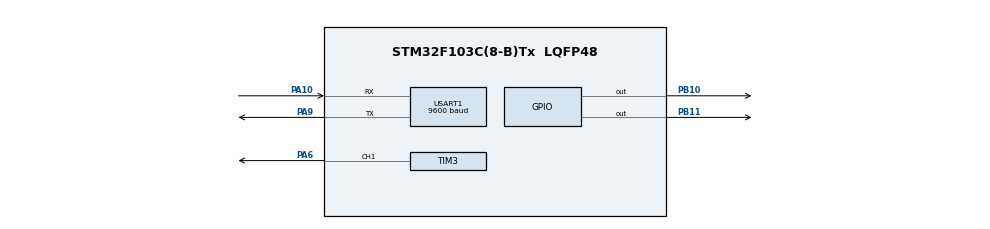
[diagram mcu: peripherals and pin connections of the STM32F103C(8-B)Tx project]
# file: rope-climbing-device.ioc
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FREERTOS.Tasks01=defaultTask,24,128,StartDefaultTask,Default,NULL,Dynamic,NULL,NULL
FREERTOS.configTOTAL_HEAP_SIZE=6144
Mcu.Family=STM32F1
Mcu.Name=STM32F103C(8-B)Tx
Mcu.Package=LQFP48
NVIC.PriorityGroup=NVIC_PRIORITYGROUP_4
NVIC.TIM3_IRQn=true\:5\:0\:false\:false\:true\:true\:true\:true\:true
NVIC.TIM4_IRQn=true\:15\:0\:false\:false\:true\:false\:false\:true\:true
NVIC.TimeBase=TIM4_IRQn
NVIC.TimeBaseIP=TIM4
NVIC.USART1_IRQn=true\:5\:0\:false\:true\:true\:1\:true\:true\:true\:true
PA10.Mode=Asynchronous
PA10.Signal=USART1_RX
PA13.Mode=Trace_Asynchronous_SW
PA13.Signal=SYS_JTMS-SWDIO
PA14.Mode=Trace_Asynchronous_SW
PA14.Signal=SYS_JTCK-SWCLK
PA6.Signal=S_TIM3_CH1
PA9.Mode=Asynchronous
PA9.Signal=USART1_TX
PB10.PinState=GPIO_PIN_SET
PB10.Signal=GPIO_Output
PB11.PinState=GPIO_PIN_SET
PB11.Signal=GPIO_Output
PB3.Mode=Trace_Asynchronous_SW
PB3.Signal=SYS_JTDO-TRACESWO
ProjectManager.HeapSize=0x200
ProjectManager.StackSize=0x400
ProjectManager.TargetToolchain=CMake
RCC.APB1Freq_Value=8000000
RCC.APB2Freq_Value=8000000
SH.S_TIM3_CH1.0=TIM3_CH1,PWM Generation1 CH1
TIM3.AutoReloadPreload=TIM_AUTORELOAD_PRELOAD_ENABLE
TIM3.Channel-PWM\ Generation1\ CH1=TIM_CHANNEL_1
TIM3.OCMode_PWM-PWM\ Generation1\ CH1=TIM_OCMODE_PWM2
TIM3.Period=99
TIM3.Prescaler=799
TIM3.Pulse-PWM\ Generation1\ CH1=50
USART1.BaudRate=9600
USART1.Parity=PARITY_EVEN
USART1.VirtualMode=VM_ASYNC
USART1.WordLength=WORDLENGTH_9B
VP_FREERTOS_VS_CMSIS_V2.Mode=CMSIS_V2
VP_SYS_VS_tim4.Mode=TIM4
VP_TIM3_VS_ClockSourceINT.Mode=Internal
board=custom

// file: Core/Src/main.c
/* USER CODE BEGIN Header */
/**
  ******************************************************************************
  * @file           : main.c
  * @brief          : Main program body
  ******************************************************************************
  * @attention
  *
  * Copyright (c) 2026 STMicroelectronics.
  * All rights reserved.
  *
  * This software is licensed under terms that can be found in the LICENSE file
  * in the root directory of this software component.
  * If no LICENSE file comes with this software, it is provided AS-IS.
  *
  ******************************************************************************
  */
/* USER CODE END Header */
#include "main.h"
#include "cmsis_os.h"

/* USER CODE BEGIN Includes */
#include <stdint.h>
#include <stdio.h>
#include <stdbool.h>
#include <stddef.h>
#include "stm32f103xb.h"
#include "stm32f1xx.h"
#include "stm32f1xx_hal_def.h"
#include "stm32f1xx_hal_tim.h"
#include "stm32f1xx_hal_gpio.h"
#include "projdefs.h"
#include "semphr.h"

#include "Modbus.h"
/* USER CODE END Includes */

/* USER CODE BEGIN PD */
#define CW_PIN           GPIO_PIN_10   // Both are from bank B
#define EN_PIN           GPIO_PIN_11
#define MOTOR_EN         (1u << 0u)    // Coil 0
#define MOTOR_CW         (1u << 1u)    // Coil 1
#define MOTION_TRACK_EN  (1u << 2u)    // Coil 2
#define MOTION_ZERO      (1u << 3u)    // Coil 3
#define WHEEL_RADIUS_MM 30.0
// shortcut: full stepping assumed; update pulses per revolution if driver microstepping is enabled.
#define MOTOR_PULSES_PER_REV 200.0
#define MOTOR_REVS_PER_WHEEL_REV 3.7
#define MOTION_MM_PER_PULSE (2.0 * 3.141592653589793 * WHEEL_RADIUS_MM / \
                             (MOTOR_PULSES_PER_REV * MOTOR_REVS_PER_WHEEL_REV))
/* USER CODE END PD */

TIM_HandleTypeDef htim3;

UART_HandleTypeDef huart1;

/* Definitions for defaultTask */
osThreadId_t defaultTaskHandle;
const osThreadAttr_t defaultTask_attributes = {
  .name = "defaultTask",
  .stack_size = 128 * 4,
  .priority = (osPriority_t) osPriorityNormal,
};
/* USER CODE BEGIN PV */
osThreadId_t motorControlTaskHandle;

const osThreadAttr_t motorControlTask_attributes = {
  .name = "motorControlTask",
  .stack_size = 128 * 4,
  .priority = (osPriority_t) osPriorityNormal,
};

osThreadId_t motionTrackingTaskHandle;
const osThreadAttr_t motionTrackingTask_attributes = {
  .name = "motionTrackingTask",
  .stack_size = 128 * 4,
  .priority = (osPriority_t) osPriorityNormal,
};

static volatile bool motionTrackingEnabled;
static volatile bool motionMotorRunning;
static volatile int32_t motionDirection = 1;
static volatile uint64_t motionPosition; // Unsigned storage preserves two's-complement wrap.
static volatile int32_t motionIntervalPulses;

modbusHandler_t modbusHandle;
uint16_t modbusCoilsData[1];            // 16 coils, Modbus addresses 0-15
uint16_t modbusDiscreteInputsData[1];   // 16 discrete inputs, Modbus addresses 100-115
uint16_t modbusInputRegistersData[6];   // Speed um/s 200-201, position mm 202-205
uint16_t modbusHoldingRegistersData[2] = {100, 0}; // PWM Hz at 300; 301 reserved

/* USER CODE END PV */

void SystemClock_Config(void);
static void MX_GPIO_Init(void);
static void MX_TIM3_Init(void);
static void MX_USART1_UART_Init(void);
void StartDefaultTask(void *argument);

static void MX_NVIC_Init(void);
/* USER CODE BEGIN PFP */
void MotorControlTask(void *argument);
void MotionTrackingTask(void *argument);
/* USER CODE END PFP */

/* USER CODE BEGIN 0 */
int _write(int file, char *ptr, int len)
{
    for (int i = 0; i < len; i++)
    {
        ITM_SendChar(*ptr++);
    }
    return len;
}

void ModbusComm_Init(void)
{
  modbusHandle.uModbusType = MB_SLAVE;
  modbusHandle.port = &huart1;
  modbusHandle.u8id = 17;
  modbusHandle.u16timeOut = 1000;
  modbusHandle.EN_Port = NULL;
  modbusHandle.u16regs = NULL;
  modbusHandle.u16regsize = 0;
  modbusHandle.xTypeHW = USART_HW;

  // Coils — FC1, FC5, FC15
  // 0th coil is EN for motor
  // 1st coil is CW for motor
  // 2nd coil enables pulse speed/position tracking
  // 3rd coil requests zeroing; cleared after completion
  modbusHandle.u16coils            = modbusCoilsData;
  modbusHandle.u16coilsStartAdd    = 0;
  modbusHandle.u16coilsNregs       = 1;

  // Discrete Inputs — FC2
  modbusHandle.u16discreteInputs          = modbusDiscreteInputsData;
  modbusHandle.u16discreteInputsStartAdd  = 100;
  modbusHandle.u16discreteInputsNregs     = 1;

  // Input Registers — FC4
  modbusHandle.u16inputRegs          = modbusInputRegistersData;
  modbusHandle.u16inputRegsStartAdd  = 200;
  modbusHandle.u16inputRegsNregs     = 6;

  // Holding Registers — FC3, FC6, FC16
  modbusHandle.u16holdingRegs          = modbusHoldingRegistersData;
  modbusHandle.u16holdingRegsStartAdd  = 300;
  modbusHandle.u16holdingRegsNregs     = 2;

  ModbusInit(&modbusHandle);
  ModbusStart(&modbusHandle);
}

static void RecordMotionPulse(void)
{
  if (motionMotorRunning && motionTrackingEnabled)
  {
    motionPosition += motionDirection;
    motionIntervalPulses += motionDirection;
  }
}

void HAL_TIM_PWM_PulseFinishedCallback(TIM_HandleTypeDef *htim)
{
  if (htim->Instance == TIM3 && htim->Channel == HAL_TIM_ACTIVE_CHANNEL_1)
  {
    RecordMotionPulse();
  }
}

// Called with TIM3 masked: account for an edge awaiting interrupt service.
static void FlushMotionPulse(void)
{
  if (__HAL_TIM_GET_FLAG(&htim3, TIM_FLAG_CC1) != RESET)
  {
    __HAL_TIM_CLEAR_FLAG(&htim3, TIM_FLAG_CC1);
    RecordMotionPulse();
  }
}

static void SetMotionTracking(uint16_t coils)
{
  taskENTER_CRITICAL();
  FlushMotionPulse();
  motionTrackingEnabled = (coils & MOTION_TRACK_EN) != 0;
  taskEXIT_CRITICAL();
}

void MotorControlTask(void *argument)
{
  const uint16_t commandMask = MOTOR_EN | MOTOR_CW;
  bool running = false;
  uint16_t frequency = 100;
  // APB1 divider is 1: TIM3 clock equals PCLK1; PWM period stays 100 counts.
  const uint32_t timerClock = HAL_RCC_GetPCLK1Freq();
  GPIO_PinState direction = GPIO_PIN_RESET;

  while (true)
  {
    if (xSemaphoreTake(modbusHandle.ModBusSphrHandle, 0) == pdTRUE)
    {
      uint16_t coils = modbusCoilsData[0];
      uint16_t command = coils & commandMask;
      uint16_t requestedFrequency = modbusHoldingRegistersData[0];
      if (requestedFrequency < 100) requestedFrequency = 100;
      if (requestedFrequency > 700) requestedFrequency = 700;
      xSemaphoreGive(modbusHandle.ModBusSphrHandle);

      SetMotionTracking(coils);
      bool enabled = READ_BIT(command, MOTOR_EN);
      GPIO_PinState requestedDirection = READ_BIT(command, MOTOR_CW) ? GPIO_PIN_RESET : GPIO_PIN_SET;

      if (running && (!enabled || requestedDirection != direction || requestedFrequency != frequency))
      {
        taskENTER_CRITICAL();
        HAL_GPIO_WritePin(GPIOB, EN_PIN, GPIO_PIN_SET);
        if (HAL_TIM_PWM_Stop_IT(&htim3, TIM_CHANNEL_1) != HAL_OK)
        {
          Error_Handler(__FILE__, __LINE__);
        }
        FlushMotionPulse();
        motionMotorRunning = false;
        taskEXIT_CRITICAL();
        running = false;
      }

      if (enabled && !running)
      {
        HAL_GPIO_WritePin(GPIOB, CW_PIN, requestedDirection);
        osDelay(10);
        // Re-read after the pause without blocking Modbus writes during it.
        if (xSemaphoreTake(modbusHandle.ModBusSphrHandle, 0) == pdTRUE)
        {
          uint16_t latestCoils = modbusCoilsData[0];
          uint16_t latestCommand = latestCoils & commandMask;
          uint16_t latestFrequency = modbusHoldingRegistersData[0];
          if (latestFrequency < 100) latestFrequency = 100;
          if (latestFrequency > 700) latestFrequency = 700;
          xSemaphoreGive(modbusHandle.ModBusSphrHandle);
          SetMotionTracking(latestCoils);
          if (latestCommand == command && latestFrequency == requestedFrequency)
          {
            taskENTER_CRITICAL();
            __HAL_TIM_SET_PRESCALER(&htim3,
                (timerClock / 100 + requestedFrequency / 2) / requestedFrequency - 1);
            if (HAL_TIM_GenerateEvent(&htim3, TIM_EVENTSOURCE_UPDATE) != HAL_OK)
            {
              Error_Handler(__FILE__, __LINE__);
            }
            __HAL_TIM_SET_COUNTER(&htim3, 0);
            __HAL_TIM_CLEAR_FLAG(&htim3, TIM_FLAG_CC1);
            HAL_NVIC_ClearPendingIRQ(TIM3_IRQn);
            motionDirection = requestedDirection == GPIO_PIN_SET ? 1 : -1;
            if (HAL_TIM_PWM_Start_IT(&htim3, TIM_CHANNEL_1) != HAL_OK)
            {
              Error_Handler(__FILE__, __LINE__);
            }
            HAL_GPIO_WritePin(GPIOB, EN_PIN, GPIO_PIN_RESET);
            motionMotorRunning = true;
            taskEXIT_CRITICAL();
            direction = requestedDirection;
            frequency = requestedFrequency;
            running = true;
          }
        }
      }
    }
    osDelay(10);
  }
}

void MotionTrackingTask(void *argument)
{
  uint32_t previousTime = HAL_GetTick();
  const uint32_t period = osKernelGetTickFreq() / 10;
  while (true)
  {
    osDelay(period);
    taskENTER_CRITICAL();
    FlushMotionPulse();
    uint32_t now = HAL_GetTick();
    uint32_t elapsed = now - previousTime;
    uint64_t position = motionPosition;
    int32_t pulses = motionIntervalPulses;
    bool active = motionTrackingEnabled && motionMotorRunning;
    if (elapsed != 0)
    {
      motionIntervalPulses = 0;
    }
    taskEXIT_CRITICAL();
    if (elapsed == 0)
    {
      continue;
    }
    previousTime = now;
    // shortcut: current calibration and 100 Hz PWM fit int32 speed; revisit if either changes.
    int32_t speed = active ? (int32_t)(pulses * MOTION_MM_PER_PULSE * 1000.0 / elapsed) : 0;
    double distanceMm = (int64_t)position * MOTION_MM_PER_PULSE;
    // Saturate physical distance rather than overflowing the signed Modbus value.
    int64_t distance = distanceMm >= (double)INT64_MAX ? INT64_MAX :
                       distanceMm <= (double)INT64_MIN ? INT64_MIN : (int64_t)distanceMm;
    if (xSemaphoreTake(modbusHandle.ModBusSphrHandle, 0) == pdTRUE)
    {
      if (modbusCoilsData[0] & MOTION_ZERO)
      {
        taskENTER_CRITICAL();
        // Discard all pulses through the reset boundary, including a pending edge.
        FlushMotionPulse();
        motionPosition = 0;
        motionIntervalPulses = 0;
        previousTime = HAL_GetTick();
        taskEXIT_CRITICAL();
        distance = 0;
        speed = 0;
      }
      modbusInputRegistersData[0] = (uint32_t)speed >> 16;
      modbusInputRegistersData[1] = (uint32_t)speed;
      for (unsigned int i = 0; i < 4; ++i)
      {
        modbusInputRegistersData[2 + i] = (uint64_t)distance >> (48 - 16 * i);
      }
      modbusCoilsData[0] &= ~MOTION_ZERO;
      xSemaphoreGive(modbusHandle.ModBusSphrHandle);
    }
  }
}
/* USER CODE END 0 */

int main(void)
{

  /* MCU Configuration--------------------------------------------------------*/

  /* Reset of all peripherals, Initializes the Flash interface and the Systick. */
  HAL_Init();

  /* Configure the system clock */
  SystemClock_Config();

  /* Initialize all configured peripherals */
  MX_GPIO_Init();
  MX_TIM3_Init();
  MX_USART1_UART_Init();

  /* Initialize interrupts */
  MX_NVIC_Init();

  /* Init scheduler */
  osKernelInitialize();

  /* Create the thread(s) */
  /* creation of defaultTask */
  defaultTaskHandle = osThreadNew(StartDefaultTask, NULL, &defaultTask_attributes);

  /* USER CODE BEGIN RTOS_THREADS */
  ModbusComm_Init();
  /* add threads, ... */
  motorControlTaskHandle = osThreadNew(MotorControlTask, NULL, &motorControlTask_attributes);
  if (!motorControlTaskHandle)
  {
    Error_Handler(__FILE__, __LINE__);
  }
  motionTrackingTaskHandle = osThreadNew(MotionTrackingTask, NULL, &motionTrackingTask_attributes);
  if (!motionTrackingTaskHandle)
  {
    Error_Handler(__FILE__, __LINE__);
  }
  /* USER CODE END RTOS_THREADS */

  /* Start scheduler */
  osKernelStart();

  /* We should never get here as control is now taken by the scheduler */

  /* Infinite loop */
  while (1)
  {

  }
}

void SystemClock_Config(void)
{
  RCC_OscInitTypeDef RCC_OscInitStruct = {0};
  RCC_ClkInitTypeDef RCC_ClkInitStruct = {0};

  /** Initializes the RCC Oscillators according to the specified parameters
  * in the RCC_OscInitTypeDef structure.
  */
  RCC_OscInitStruct.OscillatorType = RCC_OSCILLATORTYPE_HSI;
  RCC_OscInitStruct.HSIState = RCC_HSI_ON;
  RCC_OscInitStruct.HSICalibrationValue = RCC_HSICALIBRATION_DEFAULT;
  RCC_OscInitStruct.PLL.PLLState = RCC_PLL_NONE;
  if (HAL_RCC_OscConfig(&RCC_OscInitStruct) != HAL_OK)
  {
    Error_Handler(__FILE__, __LINE__);
  }

  /** Initializes the CPU, AHB and APB buses clocks
  */
  RCC_ClkInitStruct.ClockType = RCC_CLOCKTYPE_HCLK|RCC_CLOCKTYPE_SYSCLK
                              |RCC_CLOCKTYPE_PCLK1|RCC_CLOCKTYPE_PCLK2;
  RCC_ClkInitStruct.SYSCLKSource = RCC_SYSCLKSOURCE_HSI;
  RCC_ClkInitStruct.AHBCLKDivider = RCC_SYSCLK_DIV1;
  RCC_ClkInitStruct.APB1CLKDivider = RCC_HCLK_DIV1;
  RCC_ClkInitStruct.APB2CLKDivider = RCC_HCLK_DIV1;

  if (HAL_RCC_ClockConfig(&RCC_ClkInitStruct, FLASH_LATENCY_0) != HAL_OK)
  {
    Error_Handler(__FILE__, __LINE__);
  }
}

/**
  * @brief NVIC Configuration.
  * @retval None
  */
static void MX_NVIC_Init(void)
{
  /* USART1_IRQn interrupt configuration */
  HAL_NVIC_SetPriority(USART1_IRQn, 5, 0);
  HAL_NVIC_EnableIRQ(USART1_IRQn);
}

static void MX_TIM3_Init(void)
{

  TIM_ClockConfigTypeDef sClockSourceConfig = {0};
  TIM_MasterConfigTypeDef sMasterConfig = {0};
  TIM_OC_InitTypeDef sConfigOC = {0};

  htim3.Instance = TIM3;
  htim3.Init.Prescaler = 799;
  htim3.Init.CounterMode = TIM_COUNTERMODE_UP;
  htim3.Init.Period = 99;
  htim3.Init.ClockDivision = TIM_CLOCKDIVISION_DIV1;
  htim3.Init.AutoReloadPreload = TIM_AUTORELOAD_PRELOAD_ENABLE;
  if (HAL_TIM_Base_Init(&htim3) != HAL_OK)
  {
    Error_Handler(__FILE__, __LINE__);
  }
  sClockSourceConfig.ClockSource = TIM_CLOCKSOURCE_INTERNAL;
  if (HAL_TIM_ConfigClockSource(&htim3, &sClockSourceConfig) != HAL_OK)
  {
    Error_Handler(__FILE__, __LINE__);
  }
  if (HAL_TIM_PWM_Init(&htim3) != HAL_OK)
  {
    Error_Handler(__FILE__, __LINE__);
  }
  sMasterConfig.MasterOutputTrigger = TIM_TRGO_RESET;
  sMasterConfig.MasterSlaveMode = TIM_MASTERSLAVEMODE_DISABLE;
  if (HAL_TIMEx_MasterConfigSynchronization(&htim3, &sMasterConfig) != HAL_OK)
  {
    Error_Handler(__FILE__, __LINE__);
  }
  sConfigOC.OCMode = TIM_OCMODE_PWM2;
  sConfigOC.Pulse = 50;
  sConfigOC.OCPolarity = TIM_OCPOLARITY_HIGH;
  sConfigOC.OCFastMode = TIM_OCFAST_DISABLE;
  if (HAL_TIM_PWM_ConfigChannel(&htim3, &sConfigOC, TIM_CHANNEL_1) != HAL_OK)
  {
    Error_Handler(__FILE__, __LINE__);
  }
  HAL_TIM_MspPostInit(&htim3);

}

static void MX_USART1_UART_Init(void)
{

  huart1.Instance = USART1;
  huart1.Init.BaudRate = 9600;
  huart1.Init.WordLength = UART_WORDLENGTH_9B;
  huart1.Init.StopBits = UART_STOPBITS_1;
  huart1.Init.Parity = UART_PARITY_EVEN;
  huart1.Init.Mode = UART_MODE_TX_RX;
  huart1.Init.HwFlowCtl = UART_HWCONTROL_NONE;
  huart1.Init.OverSampling = UART_OVERSAMPLING_16;
  if (HAL_UART_Init(&huart1) != HAL_OK)
  {
    Error_Handler(__FILE__, __LINE__);
  }

}

static void MX_GPIO_Init(void)
{
  GPIO_InitTypeDef GPIO_InitStruct = {0};

  /* GPIO Ports Clock Enable */
  __HAL_RCC_GPIOA_CLK_ENABLE();
  __HAL_RCC_GPIOB_CLK_ENABLE();

  /*Configure GPIO pin Output Level */
  HAL_GPIO_WritePin(GPIOB, GPIO_PIN_10, GPIO_PIN_SET);

  /*Configure GPIO pin Output Level */
  HAL_GPIO_WritePin(GPIOB, GPIO_PIN_11, GPIO_PIN_SET);

  /*Configure GPIO pins : PB10 PB11 */
  GPIO_InitStruct.Pin = GPIO_PIN_10|GPIO_PIN_11;
  GPIO_InitStruct.Mode = GPIO_MODE_OUTPUT_PP;
  GPIO_InitStruct.Pull = GPIO_NOPULL;
  GPIO_InitStruct.Speed = GPIO_SPEED_FREQ_LOW;
  HAL_GPIO_Init(GPIOB, &GPIO_InitStruct);

}

void StartDefaultTask(void *argument)
{
  for(;;)
  {
    osDelay(1);
  }
}

void HAL_TIM_PeriodElapsedCallback(TIM_HandleTypeDef *htim)
{
  if (htim->Instance == TIM4)
  {
    HAL_IncTick();
  }
}

void Error_Handler(const char* file, int line)
{
  /* USER CODE BEGIN Error_Handler_Debug */
  /* User can add his own implementation to report the HAL error return state */
  __disable_irq();
  printf("Error occured at %s, line %d\n", file, line);
  HAL_GPIO_WritePin(GPIOB, EN_PIN, GPIO_PIN_SET);
  HAL_TIM_PWM_Stop_IT(&htim3, TIM_CHANNEL_1);
  while (1)
  {
  }
  /* USER CODE END Error_Handler_Debug */
}
